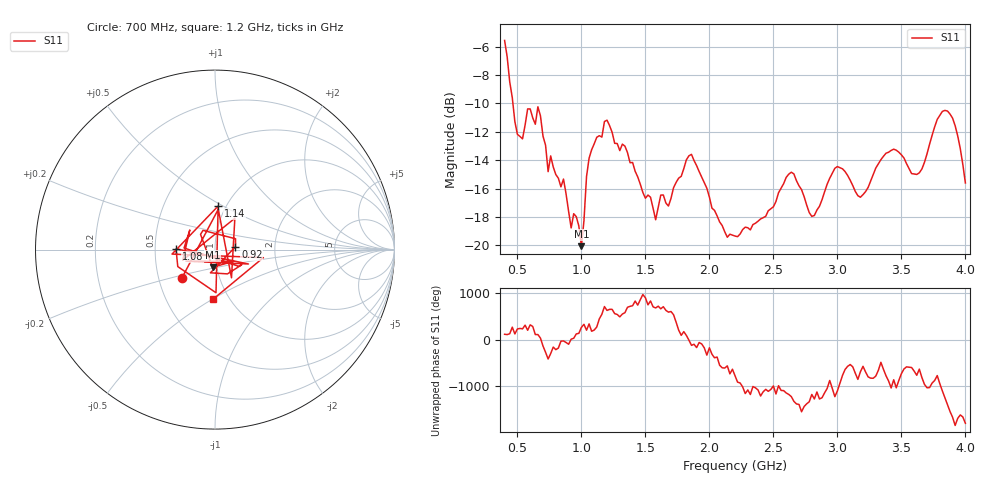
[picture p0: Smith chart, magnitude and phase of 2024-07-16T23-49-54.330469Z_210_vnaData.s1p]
!Created with skrf (http://scikit-rf.org).
# Hz S RI R 50.0
!freq ReS11 ImS11
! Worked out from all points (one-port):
!   181 points, 400 MHz to 4 GHz, reference 50 ohm
!   lowest |S11| = -20.0 dB at 1 GHz (marker M1), VSWR 1.22, Z = 47.7 - j9.5 ohm
!   |S11| at or under -10 dB: 464.9 MHz to end of sweep
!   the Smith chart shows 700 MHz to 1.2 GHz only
!   S11 on the Smith chart (normalised r, x): 700 MHz: 0.66, -0.22; 920 MHz: 1.26, +0.04; 1.08 GHz: 0.64, +0.01; 1.14 GHz: 0.92, +0.47; 1.2 GHz: 0.84, -0.50
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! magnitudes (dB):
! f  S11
! 400 MHz  -5.6
! 500 MHz  -12.2
! 660 MHz  -10.2
! 700 MHz  -12.3
! 740 MHz  -14.8
! 860 MHz  -15.3
! 920 MHz  -18.8
! 960 MHz  -18.0
! 1 GHz  -20.0
! 1.04 GHz  -15.2
! 1.08 GHz  -13.3
! 1.14 GHz  -12.3
! 1.2 GHz  -11.2
! 1.3 GHz  -13.3
! 1.58 GHz  -18.2
! 1.76 GHz  -15.3
! 1.86 GHz  -13.6
! 2.2 GHz  -19.3
! 2.66 GHz  -15.0
! 2.8 GHz  -18.0
! 2.98 GHz  -14.6
! 3.1 GHz  -15.4
! 3.18 GHz  -16.6
! 3.44 GHz  -13.2
! 3.56 GHz  -14.6
! 3.66 GHz  -14.6
! 3.86 GHz  -10.5
! 4 GHz  -15.6
